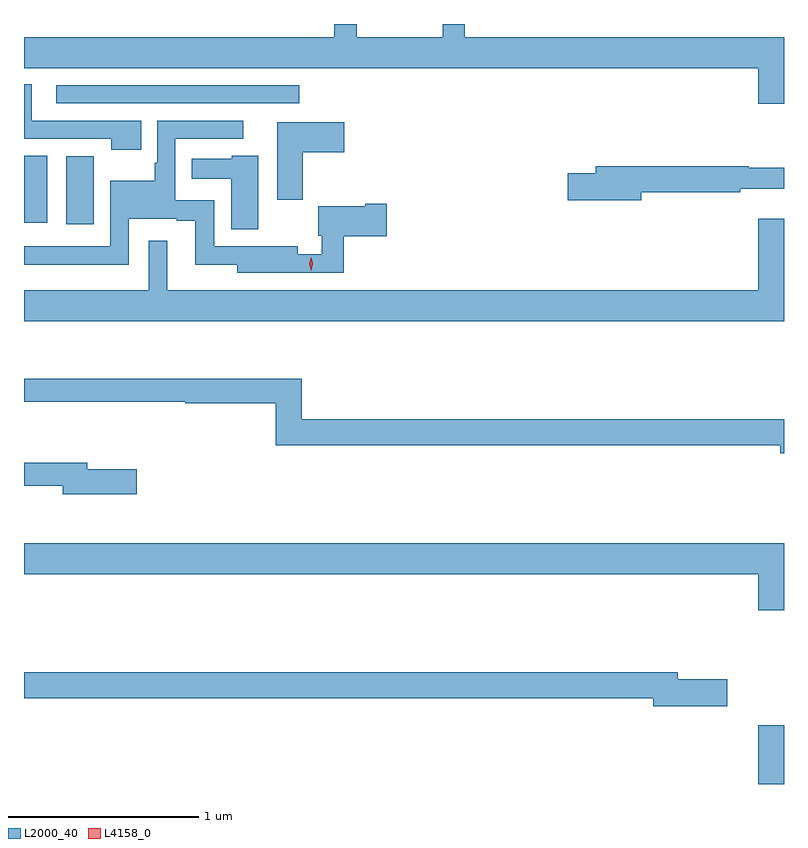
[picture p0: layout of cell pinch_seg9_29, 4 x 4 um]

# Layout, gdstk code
import gdstk
lib = gdstk.Library(unit=1e-6, precision=1e-09)
def R(c, l, rs):  # rectangles x0, y0, x1, y1
    for r in rs: c.add(gdstk.rectangle(r[:2], r[2:], *l))
def P(c, l, *ps):  # polygons
    for p in ps: c.add(gdstk.Polygon(p, *l))
L2000_40 = (2000, 40)
L4158_0 = (4158, 0)

pinch_seg9_29 = lib.new_cell('pinch_seg9_29')
R(pinch_seg9_29, L2000_40, [(932.24,1228.617,932.375,1228.927), (928.598,1231.563,928.741,1231.921), (928.375,1231.571,928.498,1231.924), (928.545,1232.199,929.824,1232.295)])
P(pinch_seg9_29, L2000_40, [(932.375,1232.548),(930.695,1232.548),(930.695,1232.617),(930.578,1232.617),(930.578,1232.548),(930.125,1232.548),(930.125,1232.617),(930.007,1232.617),(930.007,1232.548),(928.375,1232.548),(928.375,1232.384),(932.24,1232.384),(932.24,1232.196),(932.375,1232.196)],
  [(928.991,1232.109),(928.417,1232.109),(928.417,1232.299),(928.375,1232.299),(928.375,1232.013),(928.835,1232.013),(928.835,1231.956),(928.991,1231.956)],
  [(929.711,1231.308),(930.059,1231.308),(930.059,1231.499),(930.283,1231.499),(930.283,1231.67),(930.17,1231.67),(930.17,1231.657),(929.923,1231.657),(929.923,1231.503),(929.943,1231.503),(929.943,1231.404),(929.815,1231.404),(929.815,1231.447),(929.377,1231.447),(929.377,1231.689),(929.172,1231.689),(929.172,1232.013),(929.53,1232.013),(929.53,1232.109),(929.076,1232.109),(929.076,1231.888),(929.064,1231.888),(929.064,1231.792),(928.83,1231.792),(928.83,1231.446),(928.375,1231.446),(928.375,1231.349),(928.926,1231.349),(928.926,1231.593),(929.18,1231.593),(929.18,1231.581),(929.276,1231.581),(929.276,1231.349),(929.498,1231.349),(929.498,1231.307),(929.711,1231.307)],
  [(929.843,1231.943),(930.061,1231.943),(930.061,1232.101),(929.708,1232.101),(929.708,1231.692),(929.843,1231.692)],
  [(929.608,1231.924),(929.469,1231.924),(929.469,1231.909),(929.259,1231.909),(929.259,1231.802),(929.465,1231.802),(929.465,1231.536),(929.608,1231.536)],
  [(931.624,1231.732),(932.144,1231.732),(932.144,1231.751),(932.375,1231.751),(932.375,1231.861),(932.189,1231.861),(932.189,1231.868),(931.385,1231.868),(931.385,1231.832),(931.236,1231.832),(931.236,1231.69),(931.624,1231.69)],
  [(932.375,1231.591),(932.24,1231.591),(932.24,1231.216),(929.128,1231.216),(929.128,1231.477),(929.031,1231.477),(929.031,1231.216),(928.375,1231.216),(928.375,1231.052),(932.375,1231.052)],
  [(932.375,1230.536),(929.837,1230.536),(929.837,1230.751),(928.375,1230.751),(928.375,1230.63),(929.224,1230.63),(929.224,1230.622),(929.701,1230.622),(929.701,1230.4),(932.354,1230.4),(932.354,1230.358),(932.375,1230.358)],
  [(928.969,1230.273),(928.708,1230.273),(928.708,1230.307),(928.375,1230.307),(928.375,1230.186),(928.58,1230.186),(928.58,1230.143),(928.969,1230.143)],
  [(932.375,1229.884),(928.375,1229.884),(928.375,1229.72),(932.24,1229.72),(932.24,1229.532),(932.375,1229.532)],
  [(932.077,1229.168),(931.816,1229.168),(931.816,1229.204),(928.375,1229.204),(928.375,1229.068),(931.688,1229.068),(931.688,1229.026),(932.077,1229.026)])
P(pinch_seg9_29, L4158_0, [(929.886,1231.319),(929.886,1231.319),(929.876,1231.354),(929.886,1231.39),(929.886,1231.39),(929.886,1231.39),(929.896,1231.354),(929.886,1231.319)])

lib.write_gds('pinch_seg9_29.gds')
